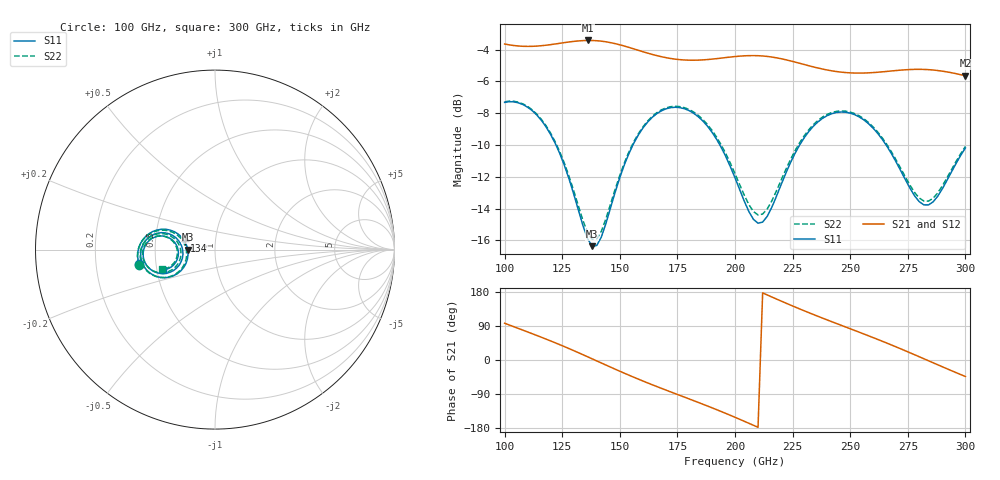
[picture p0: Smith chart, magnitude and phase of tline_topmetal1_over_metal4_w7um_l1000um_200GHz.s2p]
#  GHZ S DB R 50
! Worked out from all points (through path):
!   101 points, 100 GHz to 300 GHz, reference 50 ohm
!   highest |S21| = -3.42 dB at 136 GHz (marker M1); lowest = -5.6 dB at 300 GHz (marker M2)
!   group delay of S21, straight-line fit = 6.95 ps
!   lowest |S11| = -16.4 dB at 138 GHz (marker M3), VSWR 1.36, Z = 36.8 - j0.0621 ohm
!   |S11| at or under -10 dB: 122.3 GHz to 155.7 GHz (33.41 GHz wide, 24 % of centre); 193.4 GHz to 228.1 GHz (34.64 GHz wide, 16.4 % of centre); 265.6 GHz to end of sweep
!   |S22| runs from -15.9 to -7.2 dB; largest |S21 - S12| = 9.5e-14
!   S11 on the Smith chart (normalised r, x): 100 GHz: 0.40, -0.08; 134 GHz: 0.71, +0.07; 300 GHz: 0.54, -0.14
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100  -7.32 -168.9  -3.64 97.1  -3.64 97.1  -7.28 -168.4
108  -7.46 178.2  -3.79 78.6  -3.79 78.6  -7.42 178.9
118  -8.86 163.7  -3.72 55.1  -3.72 55.1  -8.79 164.8
126  -11.31 156.5  -3.56 35.2  -3.56 35.2  -11.17 157.9
134  -15.07 164.3  -3.43 14.0  -3.43 14.0  -14.75 165.7
136  -15.90 171.2  -3.42 8.6  -3.42 8.6  -15.51 172.4
138  -16.37 -179.7  -3.42 3.1  -3.42 3.1  -15.94 -179.1
146  -13.94 -150.3  -3.56 -18.9  -3.56 -18.9  -13.71 -151.2
154  -10.52 -149.0  -3.86 -40.1  -3.86 -40.1  -10.42 -149.5
168  -7.85 -165.9  -4.44 -74.6  -4.44 -74.6  -7.79 -165.8
184  -8.21 172.3  -4.66 -111.8  -4.66 -111.8  -8.13 173.0
200  -12.07 161.5  -4.43 -151.2  -4.43 -151.2  -11.80 163.0
208  -14.68 175.6  -4.37 -172.3  -4.37 -172.3  -14.19 176.2
212  -14.85 -171.1  -4.40 177.0  -4.40 177.0  -14.35 -171.6
224  -11.14 -153.2  -4.70 145.2  -4.70 145.2  -10.94 -154.7
234  -8.82 -160.3  -5.08 120.1  -5.08 120.1  -8.72 -161.3
242  -8.03 -169.6  -5.33 101.1  -5.33 101.1  -7.96 -170.3
252  -8.09 178.4  -5.47 77.8  -5.47 77.8  -8.03 178.0
268  -10.57 165.3  -5.34 39.4  -5.34 39.4  -10.45 165.4
276  -12.73 169.3  -5.25 19.0  -5.25 19.0  -12.54 169.5
284  -13.77 -173.9  -5.26 -2.0  -5.26 -2.0  -13.53 -174.4
300  -10.19 -158.6  -5.64 -43.5  -5.64 -43.5  -10.09 -159.5
